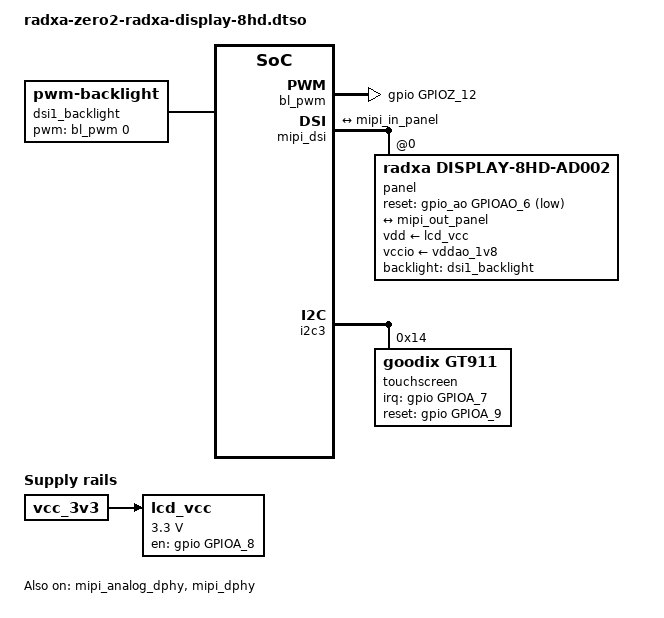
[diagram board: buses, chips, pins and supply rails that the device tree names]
// SPDX-License-Identifier: (GPL-2.0+ OR MIT)
/*
 * Copyright (c) 2019 BayLibre, SAS
 * Copyright (c) 2025 Radxa Computer (Shenzhen) Co., Ltd.
 * Author: Neil Armstrong <narmstrong@baylibre.com>
 * Author: Jiali Chen <chenjiali@radxa.com>
 */

/dts-v1/;
/plugin/;

#include <dt-bindings/gpio/gpio.h>
#include <dt-bindings/gpio/meson-g12a-gpio.h>
#include <dt-bindings/pwm/pwm.h>
#include <dt-bindings/clock/g12a-clkc.h>
#include <dt-bindings/interrupt-controller/irq.h>
#include <dt-bindings/interrupt-controller/arm-gic.h>
#include <dt-bindings/interrupt-controller/amlogic,meson-g12a-gpio-intc.h>

#include "meson-g12-disable-hdmi.dtso"

/ {
    metadata {
		title = "Enable Radxa Display 8HD AD002";
		compatible = "radxa,zero2";
		category = "display";
		exclusive = "mipi_dsi", "hdmi";
		description = "Enable Radxa Display 8HD AD002.";
    };
};

&{/} {
	lcd_vcc: regulator-lcd-vcc {
		compatible = "regulator-fixed";
		regulator-name = "LCD_VCC";
		vin-supply = <&vcc_3v3>;
		enable-active-high;
		regulator-min-microvolt = <3300000>;
		regulator-max-microvolt = <3300000>;
		gpios = <&gpio GPIOA_8 GPIO_ACTIVE_HIGH>;
	};

	bl_pwm: bl-pwm {
		compatible = "pwm-gpio";
		#pwm-cells = <3>;
		gpios = <&gpio GPIOZ_12 GPIO_ACTIVE_HIGH>;
	};

	dsi1_backlight: dsi1-backlight {
		status = "okay";
		compatible = "pwm-backlight";
		pwms = <&bl_pwm 0 1000000 0>;
		brightness-levels = <0 255>;
		num-interpolated-steps = <255>;
		default-brightness-level = <250>;
	};
};

&mipi_dsi {
	#address-cells = <1>;
	#size-cells = <0>;
	status = "okay";

	assigned-clocks = <&clkc CLKID_GP0_PLL>,
			  <&clkc CLKID_MIPI_DSI_PXCLK_SEL>,
			  <&clkc CLKID_MIPI_DSI_PXCLK>,
			  <&clkc CLKID_CTS_ENCL_SEL>,
			  <&clkc CLKID_VCLK2_SEL>;
	assigned-clock-parents = <0>,
				 <&clkc CLKID_GP0_PLL>,
				 <0>,
				 <&clkc CLKID_VCLK2_DIV1>,
				 <&clkc CLKID_GP0_PLL>;
	assigned-clock-rates = <0>,
			       <0>,
			       <420000000>,
			       <0>,
			       <0>;

	panel@0 {
		compatible = "radxa,display-8hd-ad002", "jadard,jd9365da-h3";
		reg = <0>;
		vdd-supply = <&lcd_vcc>;
		vccio-supply = <&vddao_1v8>;
		backlight = <&dsi1_backlight>;
		reset-gpios = <&gpio_ao GPIOAO_6 GPIO_ACTIVE_LOW>;
		pinctrl-names = "default";
		pinctrl-0 = <&panel_default_pins>;

		port {
			mipi_in_panel: endpoint {
				remote-endpoint = <&mipi_out_panel>;
			};
		};
	};

	ports {
		#address-cells = <1>;
		#size-cells = <0>;

		port@1 {
			mipi_out_panel: endpoint {
				remote-endpoint = <&mipi_in_panel>;
			};
		};
	};
};

&i2c3 {
	#address-cells = <1>;
	#size-cells = <0>;
	pinctrl-0 = <&i2c3_sda_a_pins>, <&i2c3_sck_a_pins>;
	pinctrl-names = "default";
	status = "okay";

	touchscreen@14 {
		compatible = "goodix,gt911";
		reg = <0x14>;
		interrupt-parent = <&gpio_intc>;
		interrupts = <IRQID_GPIOA_7 IRQ_TYPE_LEVEL_HIGH>;
		irq-gpios = <&gpio GPIOA_7 GPIO_ACTIVE_HIGH>;
		pinctrl-0 = <&ts_int_conn>, <&ts_rst_conn>;
		pinctrl-names = "default";
		reset-gpios = <&gpio GPIOA_9 GPIO_ACTIVE_HIGH>;
	};
};

&mipi_analog_dphy {
	status = "okay";
};

&mipi_dphy {
	status = "okay";
};

&ao_pinctrl {
	panel_default_pins: panel_default_pins {
		mux {
			groups = "GPIOAO_6";
			function = "gpio_aobus";
			bias-disable;
			drive-strength-microamp = <4000>;
		};
	};
};

&periphs_pinctrl {
	ts_int_conn: ts-int-conn-state {
		mux {
			pins = "GPIOA_7";
			function = "gpio_periphs";
			bias-disable;
		};
	};

	ts_rst_conn: ts-rst-conn-state {
		mux {
			pins = "GPIOA_9";
			function = "gpio_periphs";
			drive-strength-microamp = <4000>;
			bias-disable;
		};
	};
};
